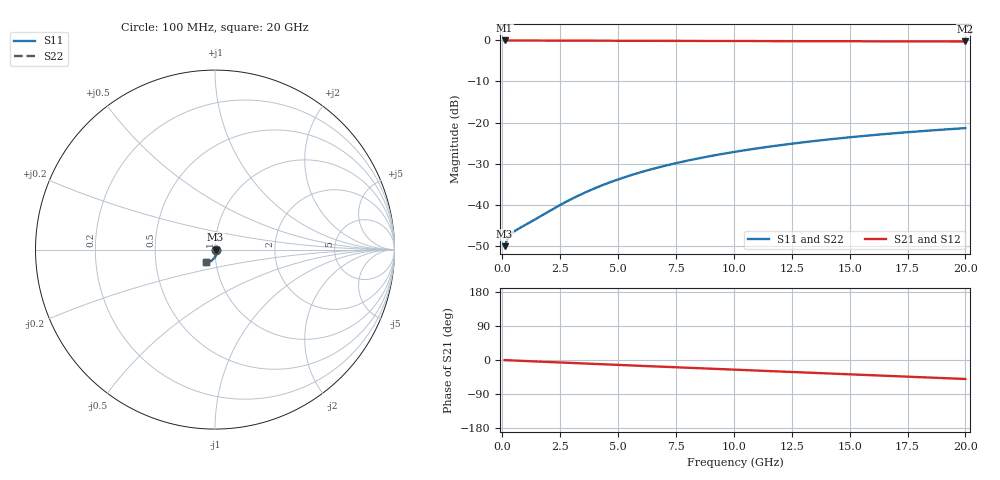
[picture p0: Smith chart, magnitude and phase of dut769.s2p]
! Touchstone file exported from HFSS 2026.1.0
!  File:  C:/ffzhzh/LocalFiles/Ansys_Project_Files/temp_train_TMRDL_769_1783155560_43440.aedt
!  Generated:  05:00:42 PM Jul  4, 2026
!  Design:  TMRDL
!  Project:  temp_train_TMRDL_769_1783155560_43440
! Variables:
!  h_bsmrdl = 2um
!  h_ox = 20um
!  h_rdl = 5um
!  h_sub = 80um
!  h_tmrdl = 5.07um
!  h_tsv = 80um
!  h_via = 3um
!  l_bsmrdl = 300um
!  l_sub = 1302.71um
!  l_tmrdl = 902.71um
!  m_sub = 200um
!  pitch = 27.11um
!  r_tsv = 6um
!  s_tmrdl = 10um
!  w_bsmrdl = 18um
!  w_sub = 500um
!  w_tmrdl = 23.1um
!  x_tsv_center1 = 914.26um
!  x_tsv_center2 = 1232.26um
!  x_tsv_center3 = 2158.07um
!  x_tsv_center4 = 2476.07um
!  x_tsv_center5 = 3401.88um
!  x_tsv_center6 = 3719.88um
# GHz S MA R 50.000000
! Terminal data exported
! Port[1] = TM_RDL1_1_T1
! Port[2] = TM_RDL1_1_T2
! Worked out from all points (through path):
!   200 points, 100 MHz to 20 GHz, reference 50 ohm
!   highest |S21| = -0.03 dB at 100 MHz (marker M1); lowest = -0.3 dB at 20 GHz (marker M2)
!   group delay of S21, straight-line fit = 6.93 ps
!   lowest |S11| = -50.0 dB at 100 MHz (marker M3), VSWR 1.01, Z = 50.3 + j0.0523 ohm
!   |S11| at or under -10 dB: start of sweep to end of sweep
!   |S22| runs from -50.0 to -21.3 dB; largest |S21 - S12| = 9.8e-14
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0.1  0.003156 9.5  0.9969 -0.3  0.9969 -0.3  0.003156 9.5
! Gamma 0 0 0 0
! Port Impedance 50 0 50 0
0.2  0.003737 9.4  0.9963 -0.6  0.9963 -0.6  0.003737 9.4
0.3  0.004186 5.2  0.9958 -0.9  0.9958 -0.9  0.004186 5.2
0.4  0.004501 0.4  0.9955 -1.1  0.9955 -1.1  0.004502 0.4
0.5  0.004742 -4.1  0.9953 -1.4  0.9953 -1.4  0.004743 -4.1
2.4  0.009651 -46.9  0.9926 -6.3  0.9926 -6.3  0.009665 -46.8
3  0.01185 -53.3  0.9916 -7.9  0.9916 -7.9  0.01187 -53.2
3.5  0.01385 -57.7  0.9907 -9.1  0.9907 -9.1  0.01388 -57.6
4.2  0.01684 -63.0  0.9895 -10.9  0.9895 -10.9  0.01687 -62.9
5  0.02043 -68.3  0.9881 -13.0  0.9881 -13.0  0.02047 -68.2
5.9  0.0246 -73.6  0.9867 -15.2  0.9867 -15.2  0.02466 -73.4
6.8  0.02886 -78.3  0.9853 -17.5  0.9853 -17.5  0.02893 -78.1
7.5  0.03219 -81.7  0.9843 -19.2  0.9843 -19.2  0.03227 -81.5
8.3  0.036 -85.3  0.9832 -21.2  0.9832 -21.2  0.03608 -85.0
9.2  0.04026 -89.1  0.982 -23.4  0.982 -23.4  0.04036 -88.8
10.1  0.04449 -92.6  0.9809 -25.7  0.9809 -25.7  0.0446 -92.3
11.7  0.05187 -98.5  0.9789 -29.7  0.9789 -29.7  0.05201 -98.2
13.4  0.05949 -104.4  0.9769 -33.9  0.9769 -33.9  0.05966 -104.0
15  0.06639 -109.5  0.975 -37.8  0.975 -37.8  0.06658 -109.1
16.7  0.07338 -114.8  0.9729 -42.0  0.9729 -42.0  0.0736 -114.3
18.3  0.07961 -119.6  0.9711 -45.9  0.9711 -45.9  0.07986 -119.1
20  0.08582 -124.5  0.9691 -50.1  0.9691 -50.1  0.08609 -124.0
